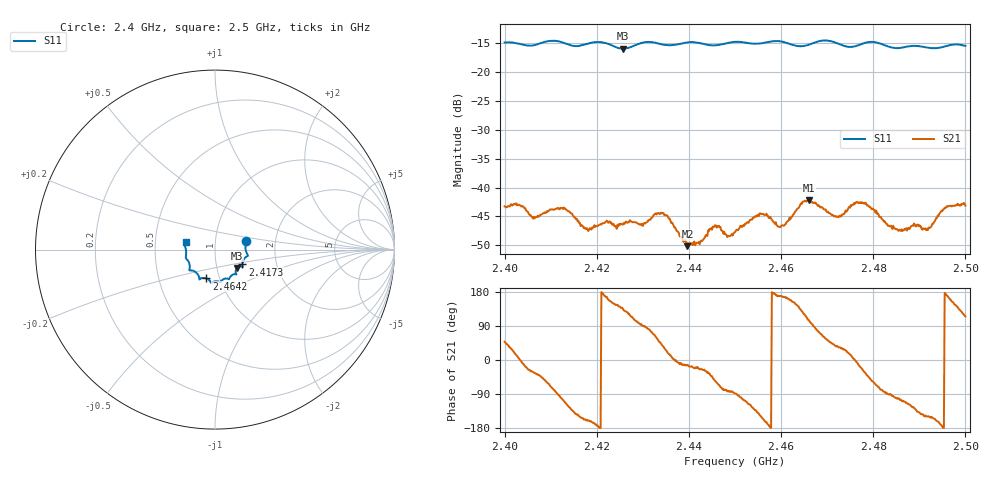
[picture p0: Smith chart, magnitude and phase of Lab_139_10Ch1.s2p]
# Hz S RI R 50
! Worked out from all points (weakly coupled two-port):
!   601 points, 2.4 GHz to 2.5 GHz, reference 50 ohm
!   highest |S21| = -42.19 dB at 2.466 GHz (marker M1); lowest = -50.1 dB at 2.4397 GHz (marker M2)
!   lowest |S11| = -15.9 dB at 2.4257 GHz (marker M3), VSWR 1.38, Z = 62.4 - j13.1 ohm
!   |S11| at or under -10 dB: start of sweep to end of sweep
!   S12 and S22 are empty: the file has one direction only
!   S11 on the Smith chart (normalised r, x): 2.4 GHz: 1.41, +0.14; 2.4173 GHz: 1.34, -0.23; 2.4642 GHz: 0.86, -0.29; 2.5 GHz: 0.72, +0.06
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2.4e9  0.1737 0.0491  0.00459 0.00512  0 0  0 0
2.402833e9  0.1738 0.0359  0.00706 0.00107  0 0  0 0
2.4065e9  0.1714 -0.00493  0.00449 -0.003  0 0  0 0
2.412667e9  0.1762 -0.0389  -0.00171 -0.00629  0 0  0 0
2.416667e9  0.1529 -0.0753  -0.00422 -0.0022  0 0  0 0
2.417333e9  0.152 -0.0827  -0.00414 -0.00178  0 0  0 0
2.425667e9  0.1223 -0.1024  -0.00338 0.00337  0 0  0 0
2.433333e9  0.1128 -0.1366  0.00368 0.00479  0 0  0 0
2.439667e9  0.0801 -0.1622  0.00303 -0.000691  0 0  0 0
2.445667e9  0.0497 -0.1634  0.0027 -0.00388  0 0  0 0
2.45e9  0.0297 -0.1806  0.000106 -0.00411  0 0  0 0
2.455833e9  -0.00534 -0.1781  -0.00523 -0.00269  0 0  0 0
2.460167e9  -0.0243 -0.1823  -0.00461 0.000942  0 0  0 0
2.464167e9  -0.0481 -0.1606  -0.00494 0.00511  0 0  0 0
2.466e9  -0.0696 -0.1581  -0.00209 0.00749  0 0  0 0
2.466667e9  -0.0761 -0.1594  -0.000665 0.00741  0 0  0 0
2.472e9  -0.0874 -0.1565  0.00451 0.00325  0 0  0 0
2.477833e9  -0.1342 -0.1159  0.00641 -0.00343  0 0  0 0
2.483333e9  -0.1405 -0.0891  -4.74e-05 -0.00466  0 0  0 0
2.492e9  -0.1604 -0.0257  -0.00383 -0.00237  0 0  0 0
2.495667e9  -0.1668 0.0167  -0.00663 0.00052  0 0  0 0
2.5e9  -0.1638 0.0416  -0.00297 0.0063  0 0  0 0
